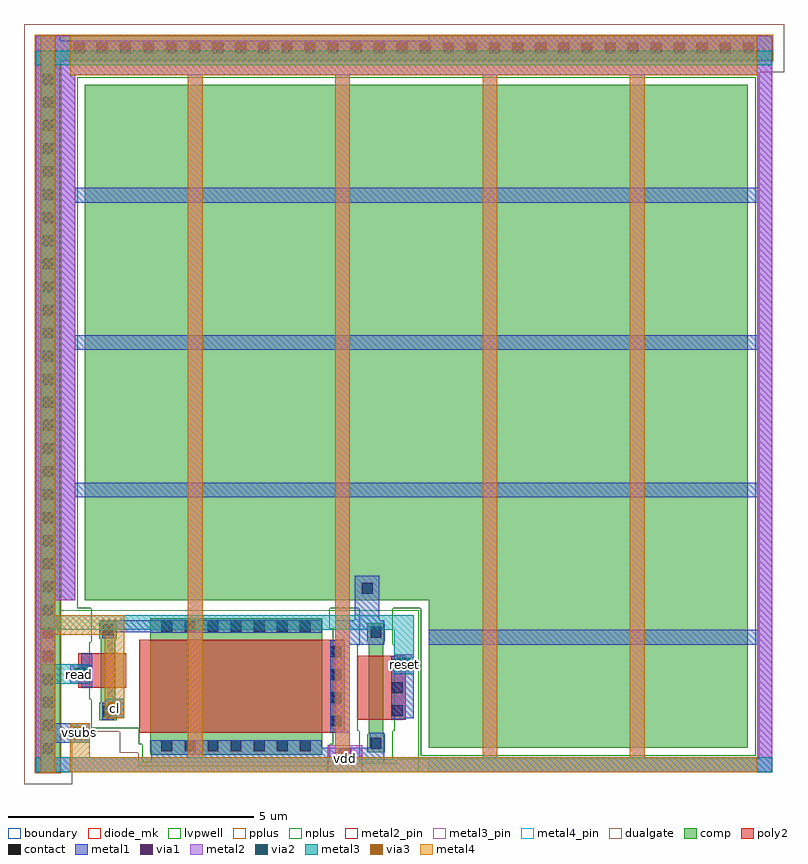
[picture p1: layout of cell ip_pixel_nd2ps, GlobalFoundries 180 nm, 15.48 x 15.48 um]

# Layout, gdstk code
from math import pi, radians
import gdstk
lib = gdstk.Library(unit=1e-6, precision=1e-09)
def R(c, l, rs):  # rectangles x0, y0, x1, y1
    for r in rs: c.add(gdstk.rectangle(r[:2], r[2:], *l))
def A(c, l, x, y, w, h, nx, ny, dx, dy):  # array of equal rectangles
    R(c, l, [(x+i*dx, y+j*dy, x+i*dx+w, y+j*dy+h) for i in range(nx) for j in range(ny)])
boundary = (0, 0)
comp = (22, 0)
poly2 = (30, 0)
pplus = (31, 0)
nplus = (32, 0)
contact = (33, 0)
metal1 = (34, 0)
via1 = (35, 0)
metal2 = (36, 0)
metal2_pin = (36, 10)
via2 = (38, 0)
via3 = (40, 0)
metal3 = (42, 0)
metal3_pin = (42, 10)
metal4 = (46, 0)
metal4_pin = (46, 10)
dualgate = (55, 0)
diode_mk = (115, 5)
lvpwell = (204, 0)

nfet_06v0_xgqpts = lib.new_cell('nfet_06v0_XGQPTS')
R(nfet_06v0_xgqpts, comp, [(-1.01,-0.3,-0.65,-0.27), (0.65,-0.3,1.01,-0.27), (-1.01,-0.27,1.01,0.03), (-1.01,0.03,-0.65,0.06), (0.65,0.03,1.01,0.06)])
R(nfet_06v0_xgqpts, poly2, [(-0.35,-0.49,0.35,0.49)])
R(nfet_06v0_xgqpts, nplus, [(-0.58,-0.5,0.58,-0.46), (-1.17,-0.46,1.17,0.22), (-0.58,0.22,0.58,0.26)])
R(nfet_06v0_xgqpts, contact, [(-0.94,-0.23,-0.72,-0.01), (0.72,-0.23,0.94,-0.01), (-0.11,0.2,0.11,0.42)])
R(nfet_06v0_xgqpts, metal1, [(-1,-0.235,-0.66,-0.005), (0.66,-0.235,1,-0.005), (-0.34,0.195,0.34,0.425)])
R(nfet_06v0_xgqpts, dualgate, [(-0.75,-0.89,0.75,-0.54), (-1.25,-0.54,1.25,0.3), (-0.75,0.3,0.75,0.89)])
R(nfet_06v0_xgqpts, lvpwell, [(-1.17,-0.65,1.17,0.65)])

nfet_06v0_g9trtn = lib.new_cell('nfet_06v0_G9TRTN')
R(nfet_06v0_g9trtn, comp, [(-1.39,-1.87,1.39,1.63)])
R(nfet_06v0_g9trtn, poly2, [(-0.95,-2.09,0.95,2.09)])
R(nfet_06v0_g9trtn, nplus, [(-1.18,-2.1,1.18,-2.03), (-1.55,-2.03,1.55,1.79), (-1.18,1.79,1.18,1.86)])
A(nfet_06v0_g9trtn, contact, -1.32, -1.64, 0.22, 0.22, 1, 7, 0, 0.47)
A(nfet_06v0_g9trtn, contact, 1.1, -1.64, 0.22, 0.22, 1, 7, 0, 0.47)
A(nfet_06v0_g9trtn, contact, -0.815, 1.8, 0.22, 0.22, 4, 1, 0.47, 0)
R(nfet_06v0_g9trtn, metal1, [(-1.325,-1.86,-1.095,1.62), (1.095,-1.86,1.325,1.62), (-0.94,1.795,0.94,2.025)])
R(nfet_06v0_g9trtn, dualgate, [(-1.35,-2.49,1.35,-2.11), (-1.63,-2.11,1.63,1.87), (-1.35,1.87,1.35,2.49)])
R(nfet_06v0_g9trtn, lvpwell, [(-1.55,-2.25,1.55,2.25)])

nfet_06v0_569j58 = lib.new_cell('nfet_06v0_569J58')
R(nfet_06v0_569j58, comp, [(-1.31,-0.3,-0.95,-0.27), (0.95,-0.3,1.31,-0.27), (-1.31,-0.27,1.31,0.03), (-1.31,0.03,-0.95,0.06), (0.95,0.03,1.31,0.06)])
R(nfet_06v0_569j58, poly2, [(-0.65,-0.49,0.65,0.49)])
R(nfet_06v0_569j58, nplus, [(-0.88,-0.5,0.88,-0.46), (-1.47,-0.46,1.47,0.22), (-0.88,0.22,0.88,0.26)])
A(nfet_06v0_569j58, contact, -0.58, 0.2, 0.22, 0.22, 3, 1, 0.47, 0)
R(nfet_06v0_569j58, contact, [(-1.24,-0.23,-1.02,-0.01), (1.02,-0.23,1.24,-0.01)])
R(nfet_06v0_569j58, metal1, [(-1.3,-0.235,-0.96,-0.005), (0.96,-0.235,1.3,-0.005), (-0.64,0.195,0.64,0.425)])
R(nfet_06v0_569j58, dualgate, [(-1.05,-0.89,1.05,-0.54), (-1.55,-0.54,1.55,0.3), (-1.05,0.3,1.05,0.89)])
R(nfet_06v0_569j58, lvpwell, [(-1.47,-0.65,1.47,0.65)])

diode_nd2ps_06v0_custom = lib.new_cell('diode_nd2ps_06v0_CUSTOM')
R(diode_nd2ps_06v0_custom, boundary, [(-7,-9,8,6)])
R(diode_nd2ps_06v0_custom, comp, [(-7,-9,-6.5,5.5), (1,-8.5,7.5,-5.5), (-6,-5.5,7.5,5), (-7,5.5,8,6)])
R(diode_nd2ps_06v0_custom, pplus, [(-7.02,-9.02,-6.48,5.48), (-7.02,5.48,8.02,6.02)])
R(diode_nd2ps_06v0_custom, nplus, [(0.84,-8.66,7.66,-5.66), (-6.16,-5.66,7.66,5.16)])
A(diode_nd2ps_06v0_custom, contact, -6.86, -8.625, 0.22, 0.22, 1, 30, 0, 0.47)
A(diode_nd2ps_06v0_custom, contact, -6.225, 5.64, 0.22, 0.22, 30, 1, 0.47, 0)
R(diode_nd2ps_06v0_custom, contact, [(-0.36,-5.36,-0.14,-5.14)])
R(diode_nd2ps_06v0_custom, metal1, [(-6.9,-9,-6.6,5.6), (-0.5,-5.5,0,-5), (-7,5.6,8,5.9), (-6.9,5.9,-6.6,6)])
R(diode_nd2ps_06v0_custom, dualgate, [(-7.24,-9.24,-6.26,-5.74), (0.76,-8.74,7.74,-5.74), (-7.24,-5.74,7.74,5.26), (-7.24,5.26,8.24,6.24)])
R(diode_nd2ps_06v0_custom, diode_mk, [(1,-8.5,7.5,-5.5), (-6,-5.5,7.5,5)])
R(diode_nd2ps_06v0_custom, lvpwell, [(-7,-9,-6.5,5.5), (-7,5.5,8,6)])

ip_pixel_nd2ps = lib.new_cell('ip_pixel_nd2ps')
R(ip_pixel_nd2ps, nplus, [(5.81,-9.1,6.1,-8.51), (5.85,-8.51,6.1,-7.35), (5.81,-7.35,6.1,-7.07), (5.81,-7.07,6.17,-6.76), (10.59,-6.81,11.27,-6.66), (5.13,-6.76,6.17,-6.7), (5.13,-6.7,9.99,-6.66)])
A(ip_pixel_nd2ps, metal1, 18.7, -7.1, 0.3, 2.7, 1, 3, 0, 3)
A(ip_pixel_nd2ps, metal1, 4, -4.4, 15, 0.3, 1, 3, 0, 3)
R(ip_pixel_nd2ps, metal1, [(4,-10,4.4,-9.4), (12,-10,19,-9.7), (6.35,-9.8,11.1,-9.5), (18.7,-9.7,19,-7.4), (6.35,-9.5,9.8,-9.35), (10.8,-9.5,11.1,-9.2), (4,-9.4,5.1,-9), (10.1,-9.2,10.4,-7.4), (4,-9,4.4,-6.5), (5.4,-8.9,5.8,-8.5), (11.25,-8.9,11.7,-8.15), (4.7,-8.2,5.1,-7.8), (11.4,-8.15,11.7,-8), (11.3,-8,11.7,-7.6), (10.1,-7.4,11.1,-6.9), (12,-7.4,19,-7.1), (5.3,-7.2,5.55,-7.15), (5.3,-7.15,6.5,-6.95), (5.3,-6.95,9.8,-6.9), (10.5,-6.9,11,-6), (4,-6.5,4.8,-4.4), (4,-4.1,4.8,-1.4), (4,-1.1,4.8,1.6), (4,1.9,4.8,4.2), (18.7,1.9,19,4.2), (4,4.2,19,4.8), (4,4.8,9.5,4.9), (10,4.8,19,4.9), (4,4.9,4.5,5), (12,4.9,19,5)])
R(ip_pixel_nd2ps, via1, [(10.17,-9.78,10.43,-9.52), (4.77,-9.33,5.03,-9.07), (5.47,-8.83,5.73,-8.57), (4.77,-8.13,5.03,-7.87), (11.37,-7.93,11.63,-7.67)])
R(ip_pixel_nd2ps, metal2, [(4,-10,19,-9.7), (4,-9.7,4.4,-6.5), (7.1,-9.7,7.4,4.2), (9.95,-9.7,10.65,-9.45), (13.1,-9.7,13.4,4.2), (16.1,-9.7,16.4,4.2), (18.7,-9.7,19,4.2), (10.1,-9.45,10.4,4.2), (4.7,-9.4,5.1,-9), (5.4,-8.9,5.8,-8.5), (4.7,-8.2,5.1,-7.8), (11.3,-8,11.7,-7.6), (4,-6.5,4.8,4.2), (4,4.2,19,5)])
R(ip_pixel_nd2ps, metal2_pin, [(9.95,-10,10.65,-9.45)])
R(ip_pixel_nd2ps, via2, [(4.77,-9.33,5.03,-9.07), (5.47,-8.83,5.73,-8.57), (4.77,-8.13,5.03,-7.87), (11.37,-7.93,11.63,-7.67)])
R(ip_pixel_nd2ps, via3, [(4.77,-9.33,5.03,-9.07), (5.47,-8.83,5.73,-8.57)])
R(ip_pixel_nd2ps, metal3, [(4,-10,19,-9.7), (4.1,-9.7,4.4,-8.2), (4.7,-9.4,5.1,-9), (5.4,-8.9,5.8,-8.5), (4.1,-8.2,5.1,-7.8), (11.3,-8,11.7,-7.1), (4.1,-7.1,11.7,-6.8), (4.1,-6.8,4.4,4.4), (4,4.4,19,4.7)])
R(ip_pixel_nd2ps, metal3_pin, [(4.7,-8.2,5.1,-7.8), (11.3,-8,11.7,-7.6)])
A(ip_pixel_nd2ps, metal4, 7.1, -9.7, 0.3, 13.9, 4, 1, 3, 0)
R(ip_pixel_nd2ps, metal4, [(4.1,-10,4.4,-7.2), (4.7,-10,18.7,-9.7), (4.7,-9.7,5.1,-9), (5.4,-8.9,5.8,-7.2), (4.1,-7.2,5.8,-6.8), (4.1,-6.8,4.4,5), (4.7,4.2,18.7,5)])
R(ip_pixel_nd2ps, metal4_pin, [(4.7,-9.4,5.1,-9), (5.4,-8.9,5.8,-8.5)])
R(ip_pixel_nd2ps, dualgate, [(11.35,-9.74,11.76,-9.33), (4.74,-9.18,5.05,-8.68), (11.35,-7.23,11.76,-6.74), (4.74,-7.18,5.05,-6.74), (5.89,-6.9,6.09,-6.74), (10.07,-6.9,10.51,-6.74)])
R(ip_pixel_nd2ps, lvpwell, [(4.5,-10,11.8,-9.1), (4.5,-9.1,5.2,-8.9), (5.6,-9.1,11.8,-8.9), (4.5,-8.9,11.8,-6.7)])
ip_pixel_nd2ps.add(gdstk.Reference(nfet_06v0_xgqpts, (5.35,-7.93), rotation=pi/2))
ip_pixel_nd2ps.add(gdstk.Reference(nfet_06v0_g9trtn, (8.2,-8.25), rotation=3*pi/2))
ip_pixel_nd2ps.add(gdstk.Reference(nfet_06v0_569j58, (11.05,-8.28), rotation=3*pi/2))
ip_pixel_nd2ps.add(gdstk.Reference(diode_nd2ps_06v0_custom, (11,-1)))
ip_pixel_nd2ps.add(gdstk.Label('cl', (5.6,-8.7), layer=46, texttype=10))
ip_pixel_nd2ps.add(gdstk.Label('read', (4.9,-8), layer=42, texttype=10))
ip_pixel_nd2ps.add(gdstk.Label('reset', (11.5,-7.8), layer=42, texttype=10))
ip_pixel_nd2ps.add(gdstk.Label('vsubs', (4.9,-9.2), layer=46, texttype=10))
ip_pixel_nd2ps.add(gdstk.Label('vdd', (10.3,-9.725), layer=36, texttype=10))

lib.write_gds('ip_pixel_nd2ps.gds')
